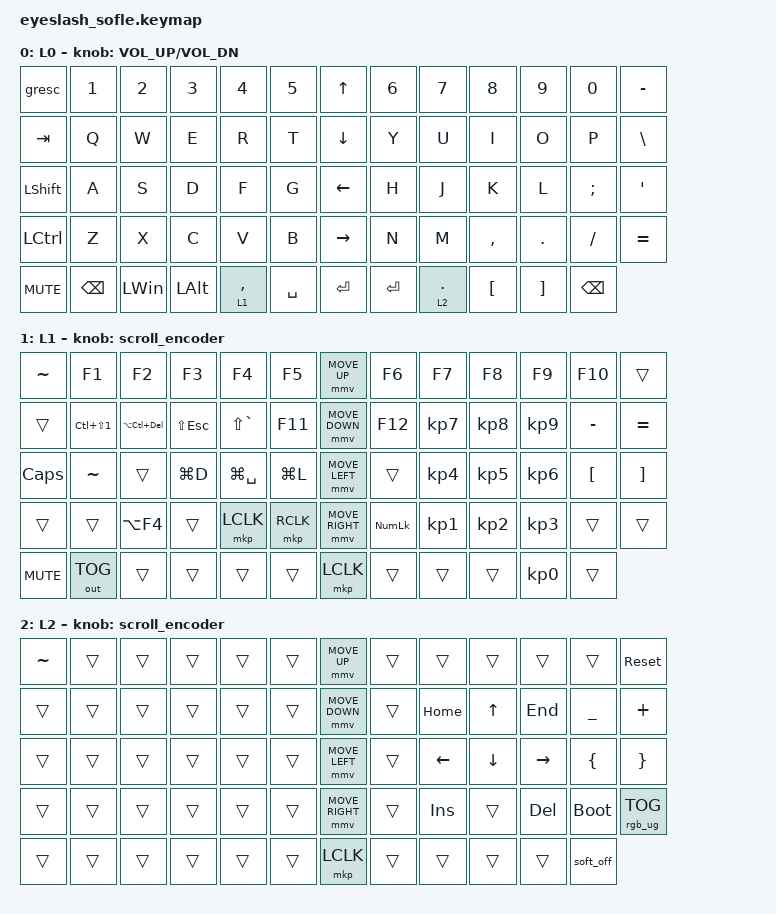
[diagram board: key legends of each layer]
#define ZMK_POINTING_DEFAULT_MOVE_VAL 1200  // 600
#define ZMK_POINTING_DEFAULT_SCRL_VAL 35    // 10

#include <input/processors.dtsi>
#include <zephyr/dt-bindings/input/input-event-codes.h>
#include <behaviors.dtsi>
#include <dt-bindings/zmk/keys.h>
#include <dt-bindings/zmk/outputs.h>
#include <dt-bindings/zmk/pointing.h>
#include <dt-bindings/zmk/rgb.h>

/ {
    zip_scroll_scaler: zip_scroll_scaler {
        compatible = "zmk,input-processor-scaler";
        #input-processor-cells = <2>;
        type = <INPUT_EV_REL>;
        codes = <INPUT_REL_WHEEL INPUT_REL_HWHEEL>;
        track-remainders;
    };
};

&mmv_input_listener { input-processors = <&zip_xy_scaler 2 1>; };

&msc_input_listener { input-processors = <&zip_scroll_scaler 2 1>; };

&lt {
    tapping-term-ms = <100>;
    flavor = "hold-preferred";
};

&msc {
    acceleration-exponent = <0>;      // 0
    time-to-max-speed-ms = <0>;       // 300
    delay-ms = <0>;                   // 0
};

&mmv {
    time-to-max-speed-ms = <400>;
    acceleration-exponent = <1>;
};

/ {
    scroll_encoder: scroll_encoder {
        compatible = "zmk,behavior-sensor-rotate";
        #sensor-binding-cells = <0>;
        bindings = <&msc SCRL_DOWN>, <&msc SCRL_UP>;

        tap-ms = <30>;
    };

    LS_CLCK: LS_CLCK {
        compatible = "zmk,behavior-tap-dance";
        label = "LS_CLCK";
        #binding-cells = <0>;
        bindings = <&kp LEFT_SHIFT>, <&kp CAPSLOCK>;

        tapping-term-ms = <120>;
    };

    behaviors {
    };

    keymap {
        compatible = "zmk,keymap";

        layer0 {
            bindings = <
&gresc          &kp N1         &kp N2    &kp N3        &kp N4       &kp N5       &kp UP_ARROW     &kp N6     &kp N7        &kp N8            &kp N9             &kp N0         &kp MINUS
&kp TAB         &kp Q          &kp W     &kp E         &kp R        &kp T        &kp DOWN_ARROW   &kp Y      &kp U         &kp I             &kp O              &kp P          &kp BSLH
&kp LEFT_SHIFT  &kp A          &kp S     &kp D         &kp F        &kp G        &kp LEFT_ARROW   &kp H      &kp J         &kp K             &kp L              &kp SEMI       &kp APOS
&kp LCTRL       &kp Z          &kp X     &kp C         &kp V        &kp B        &kp RIGHT_ARROW  &kp N      &kp M         &kp COMMA         &kp DOT            &kp FSLH       &kp EQUAL
&kp C_MUTE      &kp BACKSPACE  &kp LWIN  &kp LEFT_ALT  &lt 1 COMMA  &kp SPACE    &kp ENTER        &kp ENTER  &lt 2 PERIOD  &kp LEFT_BRACKET  &kp RIGHT_BRACKET  &kp BACKSPACE
            >;

            sensor-bindings = <&inc_dec_kp C_VOLUME_UP C_VOL_DN>;
            display-name = "L0";
        };

        layer_1 {
            bindings = <
&kp TILDE     &kp F1                &kp F2           &kp F3          &kp F4         &kp F5       &mmv MOVE_UP     &kp F6          &kp F7           &kp F8           &kp F9           &kp F10           &trans
&trans        &kp LC(LS(NUMBER_1))  &kp LA(LC(DEL))  &kp LS(ESCAPE)  &kp LS(GRAVE)  &kp F11      &mmv MOVE_DOWN   &kp F12         &kp KP_NUMBER_7  &kp KP_NUMBER_8  &kp KP_NUMBER_9  &kp MINUS         &kp EQUAL
&kp CAPSLOCK  &kp TILDE             &trans           &kp LG(D)       &kp LG(SPACE)  &kp LG(L)    &mmv MOVE_LEFT   &trans          &kp KP_NUMBER_4  &kp KP_NUMBER_5  &kp KP_NUMBER_6  &kp LEFT_BRACKET  &kp RIGHT_BRACKET
&trans        &trans                &kp LA(F4)       &trans          &mkp LCLK      &mkp RCLK    &mmv MOVE_RIGHT  &kp KP_NUMLOCK  &kp KP_NUMBER_1  &kp KP_NUMBER_2  &kp KP_NUMBER_3  &trans            &trans
&kp C_MUTE    &out OUT_TOG          &trans           &trans          &trans         &trans       &mkp LCLK        &trans          &trans           &trans           &kp KP_NUMBER_0  &trans
            >;

            display-name = "L1";
            sensor-bindings = <&scroll_encoder>;
        };

        layer_2 {
            bindings = <
&kp TILDE  &trans  &trans  &trans  &trans  &trans    &mmv MOVE_UP     &trans  &trans      &trans        &trans      &trans       &sys_reset
&trans     &trans  &trans  &trans  &trans  &trans    &mmv MOVE_DOWN   &trans  &kp HOME    &kp UP_ARROW  &kp END     &kp UNDER    &kp PLUS
&trans     &trans  &trans  &trans  &trans  &trans    &mmv MOVE_LEFT   &trans  &kp LEFT    &kp DOWN      &kp RIGHT   &kp LBRC     &kp RBRC
&trans     &trans  &trans  &trans  &trans  &trans    &mmv MOVE_RIGHT  &trans  &kp INSERT  &trans        &kp DELETE  &bootloader  &rgb_ug RGB_TOG
&trans     &trans  &trans  &trans  &trans  &trans    &mkp LCLK        &trans  &trans      &trans        &trans      &soft_off
            >;

            sensor-bindings = <&scroll_encoder>;
            label = "L2";
        };
    };
};
